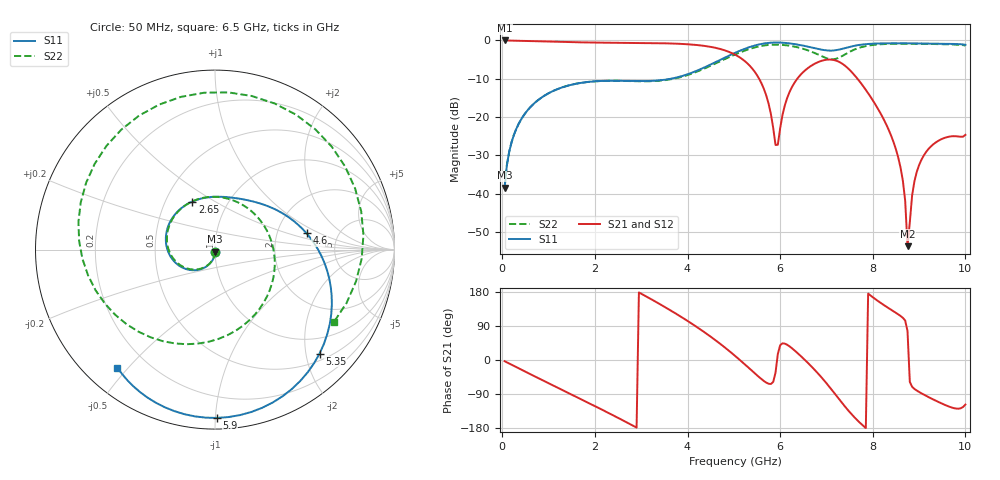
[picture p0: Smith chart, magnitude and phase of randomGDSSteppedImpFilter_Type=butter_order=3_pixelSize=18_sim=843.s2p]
! freq	dB(S11)	phase(S11)	dB(S12)	phase(S12)
!  dB(S21)	phase(S21)	dB(S22)	phase(S22)
!S-par simulation data
#  GHz  S  DB  R 50
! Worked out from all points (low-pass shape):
!   200 points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, 50 MHz to 10 GHz, reference 50 ohm
!   highest |S21| = -0.02 dB at 50 MHz (marker M1); lowest = -53.7 dB at 8.75 GHz (marker M2)
!   |S21| within 3 dB of the highest: start of sweep to 4.899 GHz
!   lowest |S11| = -38.5 dB at 50 MHz (marker M3), VSWR 1.02, Z = 50.1 - j1.19 ohm
!   |S11| at or under -10 dB: start of sweep to 3.645 GHz
!   |S22| runs from -38.3 to -0.9 dB; largest |S21 - S12| = 0
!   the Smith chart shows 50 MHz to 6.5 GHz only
!   S11 on the Smith chart (normalised r, x): 50 MHz: 1.00, -0.02; 2.65 GHz: 0.68, +0.40; 4.6 GHz: 2.95, +0.73; 5.35 GHz: 0.64, -2.27; 5.9 GHz: 0.06, -1.01; 6.5 GHz: 0.10, -0.47
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0.05  -38.48 -83.7  -0.02 -3.2  -0.02 -3.2  -38.28 -83.9
0.5  -18.95 -119.2  -0.13 -30.9  -0.13 -30.9  -18.96 -120.4
1.75  -11.00 166.2  -0.53 -106.5  -0.53 -106.5  -11.00 160.1
2.65  -10.57 115.4  -0.64 -162.2  -0.64 -162.2  -10.59 99.2
3.4  -10.43 75.7  -0.73 147.6  -0.73 147.6  -10.52 38.4
4.05  -8.63 42.5  -1.05 99.2  -1.05 99.2  -8.86 -25.7
4.6  -5.71 10.1  -1.94 52.5  -1.94 52.5  -6.05 -87.9
5.05  -3.12 -21.4  -3.88 8.5  -3.88 8.5  -3.56 -146.7
5.35  -1.71 -44.9  -6.71 -23.9  -6.71 -23.9  -2.20 168.6
5.9  -0.56 -89.3  -27.31 -33.4  -27.31 -33.4  -1.11 76.5
6.2  -0.78 -111.1  -13.55 36.2  -13.55 36.2  -1.39 23.6
6.5  -1.38 -129.6  -8.25 4.1  -8.25 4.1  -2.21 -31.5
6.7  -1.91 -139.6  -6.41 -20.2  -6.41 -20.2  -3.07 -72.3
7.1  -2.67 -152.5  -5.02 -76.4  -5.02 -76.4  -4.93 179.2
7.4  -2.01 -161.2  -6.61 -122.8  -6.61 -122.8  -3.67 84.9
7.8  -1.04 177.8  -12.07 -174.3  -12.07 -174.3  -1.62 1.0
8.35  -0.76 145.5  -23.52 136.1  -23.52 136.1  -0.91 -65.0
8.65  -0.77 127.8  -36.66 111.3  -36.66 111.3  -0.86 -91.1
8.75  -0.78 121.7  -53.72 76.4  -53.72 76.4  -0.86 -99.0
8.85  -0.79 115.7  -40.42 -70.8  -40.42 -70.8  -0.86 -106.6
9.05  -0.81 103.4  -31.18 -87.9  -31.18 -87.9  -0.89 -121.3
10  -1.15 40.7  -24.67 -117.6  -24.67 -117.6  -1.34 172.3
